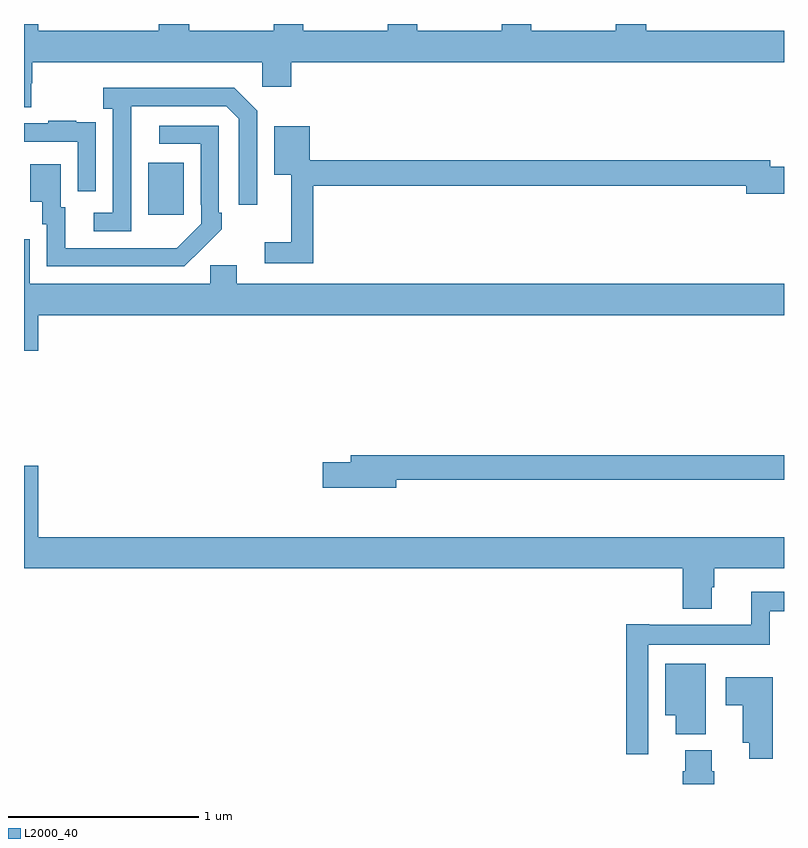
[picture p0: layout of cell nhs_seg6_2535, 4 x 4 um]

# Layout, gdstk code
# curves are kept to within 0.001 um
import gdstk
lib = gdstk.Library(unit=1e-6, precision=1e-09)
def R(c, l, rs):  # rectangles x0, y0, x1, y1
    for r in rs: c.add(gdstk.rectangle(r[:2], r[2:], *l))
def P(c, l, *ps):  # polygons
    for p in ps: c.add(gdstk.Polygon(p, *l))
L2000_40 = (2000, 40)

nhs_seg6_2535 = lib.new_cell('nhs_seg6_2535')
R(nhs_seg6_2535, L2000_40, [(261.653,982.497,261.841,982.771)])
P(nhs_seg6_2535, L2000_40, [(261.039,983.187),(261.044,983.187),(261.044,983.3),(262.254,983.3),(262.254,983.169),(262.406,983.169),(262.406,983.3),(265,983.3),(265,983.464),(264.275,983.464),(264.275,983.5),(264.115,983.5),(264.115,983.464),(263.67,983.464),(263.67,983.5),(263.515,983.5),(263.515,983.464),(263.07,983.464),(263.07,983.5),(262.915,983.5),(262.915,983.464),(262.47,983.464),(262.47,983.5),(262.315,983.5),(262.315,983.464),(261.87,983.464),(261.87,983.5),(261.71,983.5),(261.71,983.464),(261.076,983.464),(261.076,983.5),(261,983.5),(261,983.062),(261.039,983.062)],
  [(261.564,982.867),(261.565,983.067),(262.065,983.067),(262.131,983.001),(262.131,982.548),(262.227,982.548),(262.227,983.043),(262.106,983.164),(261.416,983.164),(261.416,983.054),(261.468,983.054),(261.468,982.506),(261.366,982.506),(261.366,982.41),(261.564,982.41)],
  [(261.378,982.874),(261.377,982.874),(261.377,982.983),(261.275,982.983),(261.275,982.99),(261.127,982.99),(261.127,982.977),(261,982.977),(261,982.881),(261.282,982.881),(261.282,982.62),(261.378,982.62)],
  [(261.935,982.315),(261.936,982.314),(262.041,982.419),(262.041,982.507),(262.026,982.507),(262.026,982.965),(261.711,982.965),(261.711,982.869),(261.93,982.869),(261.93,982.549),(261.933,982.549),(261.933,982.449),(261.805,982.321),(261.217,982.32),(261.217,982.536),(261.193,982.536),(261.193,982.762),(261.032,982.762),(261.032,982.565),(261.095,982.565),(261.095,982.446),(261.12,982.446),(261.12,982.224),(261.844,982.224)],
  [(262.523,982.648),(264.8,982.648),(264.8,982.606),(265,982.606),(265,982.748),(264.928,982.748),(264.928,982.784),(262.503,982.784),(262.503,982.963),(262.316,982.963),(262.316,982.706),(262.406,982.706),(262.406,982.351),(262.266,982.351),(262.266,982.242),(262.523,982.242)],
  [(261.076,981.968),(265,981.968),(265,982.132),(262.12,982.132),(262.12,982.23),(261.981,982.23),(261.981,982.132),(261.031,982.132),(261.031,982.368),(261,982.368),(261,981.78),(261.076,981.78)],
  [(262.96,981.102),(265,981.102),(265,981.23),(262.721,981.23),(262.721,981.194),(262.572,981.194),(262.572,981.059),(262.96,981.059)],
  [(264.619,980.535),(264.632,980.535),(264.632,980.636),(265,980.636),(265,980.8),(261.076,980.8),(261.076,981.175),(261,981.175),(261,980.636),(264.467,980.636),(264.467,980.423),(264.619,980.423)],
  [(264.285,980.234),(264.924,980.234),(264.924,980.408),(265,980.408),(265,980.512),(264.827,980.512),(264.827,980.338),(264.292,980.338),(264.292,980.341),(264.169,980.341),(264.169,979.656),(264.285,979.656)],
  [(264.589,980.134),(264.374,980.134),(264.374,979.862),(264.431,979.862),(264.431,979.763),(264.589,979.763)],
  [(264.94,980.062),(264.693,980.062),(264.693,979.915),(264.782,979.915),(264.782,979.718),(264.818,979.718),(264.818,979.632),(264.94,979.632)],
  [(264.632,979.566),(264.619,979.566),(264.619,979.678),(264.479,979.678),(264.479,979.566),(264.467,979.566),(264.467,979.5),(264.632,979.5)])

lib.write_gds('nhs_seg6_2535.gds')
